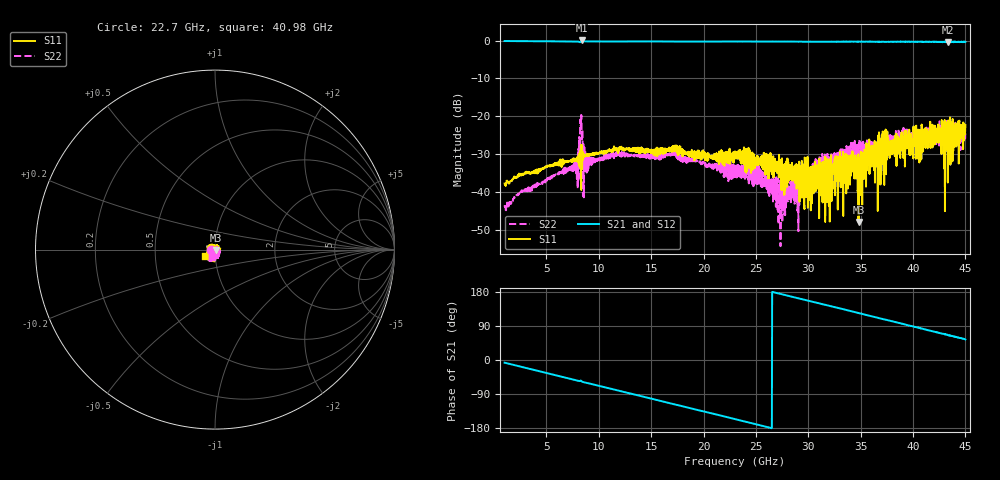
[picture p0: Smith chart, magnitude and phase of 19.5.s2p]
!Keysight Technologies,N5247B,MY61255062,A.19.80.06
!Date: Tuesday, May 26, 2026 11:55:41
!Correction: S11(C  2-Port  )
!S21(C  2-Port  )
!S12(C  2-Port  )
!S22(C  2-Port  )
!S2P File: Measurements: S11, S21, S12, S22:
# Hz S  dB  R 50
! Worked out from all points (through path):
!   1601 points, 1 GHz to 45 GHz, reference 50 ohm
!   highest |S21| = 0.07 dB at 8.342 GHz (marker M1); lowest = -0.4 dB at 43.35 GHz (marker M2)
!   group delay of S21, straight-line fit = 18.8 ps
!   lowest |S11| = -48.0 dB at 34.8 GHz (marker M3), VSWR 1.01, Z = 50.3 - j0.271 ohm
!   |S11| at or under -10 dB: start of sweep to end of sweep
!   |S22| runs from -54.4 to -19.7 dB; largest |S21 - S12| = 0.021
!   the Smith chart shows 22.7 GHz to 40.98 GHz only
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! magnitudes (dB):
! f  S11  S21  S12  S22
! 1 GHz  -37.8  -0.1  -0.1  -43.5
! 7.765 GHz  -31.8  -0.2  -0.2  -31.8
! 7.957 GHz  -30.8  -0.2  -0.2  -30.9
! 8.232 GHz  -30.5  -0.4  -0.4  -20.8
! 8.342 GHz  -27.5  0.1  0.1  -20.0
! 8.7 GHz  -30.5  -0.2  -0.2  -29.1
! 11.89 GHz  -28.3  -0.2  -0.2  -30.3
! 15.69 GHz  -28.9  -0.2  -0.2  -31.1
! 23 GHz  -29.3  -0.2  -0.2  -36.1
! 25.12 GHz  -32.9  -0.2  -0.2  -38.0
! 27.29 GHz  -31.5  -0.2  -0.2  -37.2
! 30.34 GHz  -36.3  -0.3  -0.3  -33.2
! 31.83 GHz  -34.2  -0.3  -0.3  -32.8
! 32.57 GHz  -40.5  -0.3  -0.3  -30.2
! 34.14 GHz  -32.6  -0.3  -0.3  -29.8
! 34.8 GHz  -48.0  -0.3  -0.2  -27.4
! 35.76 GHz  -32.8  -0.3  -0.2  -26.4
! 36.78 GHz  -28.9  -0.3  -0.3  -26.6
! 37.69 GHz  -29.2  -0.3  -0.2  -28.5
! 41.87 GHz  -28.3  -0.3  -0.3  -26.0
! 43.35 GHz  -21.1  -0.4  -0.3  -24.6
! 45 GHz  -22.3  -0.3  -0.4  -24.2
